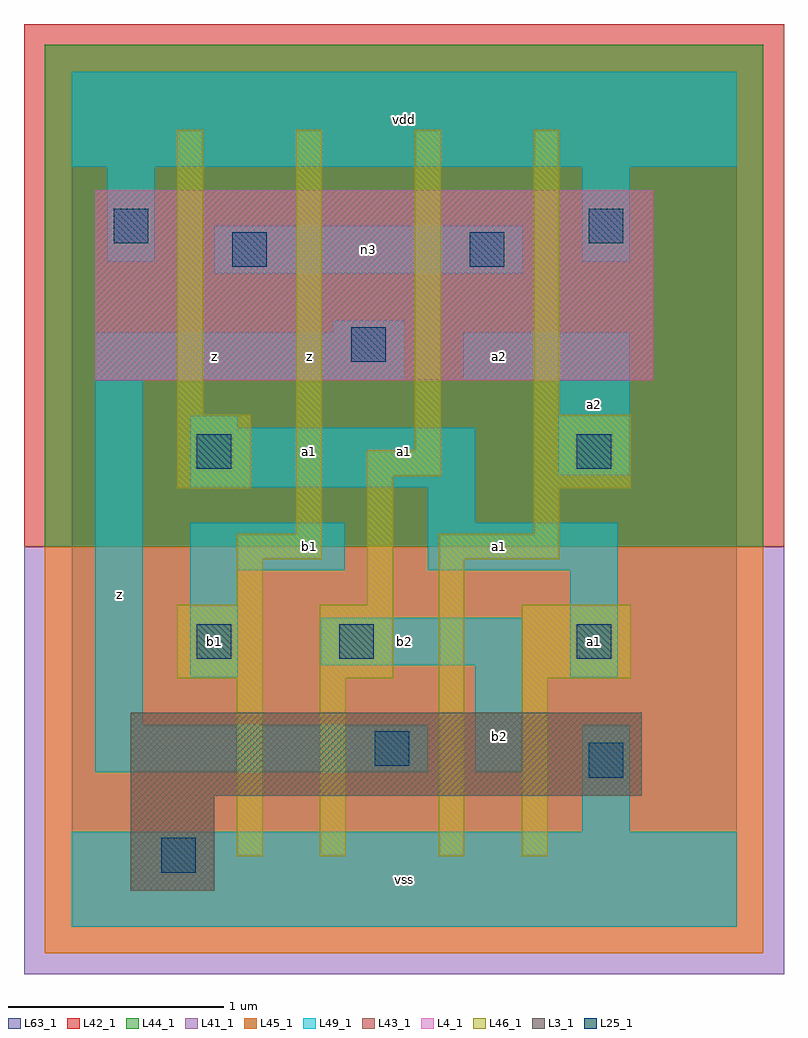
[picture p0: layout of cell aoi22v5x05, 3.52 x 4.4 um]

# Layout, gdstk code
import gdstk
lib = gdstk.Library(unit=1e-6, precision=1e-09)
def R(c, l, rs):  # rectangles x0, y0, x1, y1
    for r in rs: c.add(gdstk.rectangle(r[:2], r[2:], *l))
L3_1 = (3, 1)
L4_1 = (4, 1)
L25_1 = (25, 1)
L41_1 = (41, 1)
L42_1 = (42, 1)
L43_1 = (43, 1)
L44_1 = (44, 1)
L45_1 = (45, 1)
L46_1 = (46, 1)
L49_1 = (49, 1)
L63_1 = (63, 1)

aoi22v5x05 = lib.new_cell('aoi22v5x05')
R(aoi22v5x05, L3_1, [(0.275,0.165,0.66,0.605), (0.275,0.605,2.64,0.99)])
R(aoi22v5x05, L4_1, [(0.11,2.53,2.695,3.41)])
R(aoi22v5x05, L25_1, [(0.415,0.25,0.575,0.41), (2.395,0.69,2.555,0.85), (1.405,0.745,1.565,0.905), (0.58,1.24,0.74,1.4), (1.24,1.24,1.4,1.4), (2.34,1.24,2.5,1.4), (0.58,2.12,0.74,2.28), (2.34,2.12,2.5,2.28), (1.295,2.615,1.455,2.775), (0.745,3.055,0.905,3.215), (1.845,3.055,2.005,3.215), (0.195,3.165,0.355,3.325), (2.395,3.165,2.555,3.325)])
R(aoi22v5x05, L41_1, [(-0.22,-0.22,3.3,1.76)])
R(aoi22v5x05, L42_1, [(-0.22,1.76,3.3,4.18)])
R(aoi22v5x05, L43_1, [(0.275,0.165,0.66,0.605), (0.275,0.605,2.64,0.99), (0.11,2.53,2.695,3.41)])
R(aoi22v5x05, L44_1, [(-0.125,1.76,3.205,4.085)])
R(aoi22v5x05, L45_1, [(-0.125,-0.125,3.205,1.76)])
R(aoi22v5x05, L46_1, [(0.765,0.325,0.885,1.15), (1.15,0.325,1.27,1.15), (1.7,0.325,1.82,1.7), (2.085,0.325,2.205,1.15), (0.49,1.15,0.885,1.49), (1.15,1.15,1.49,1.49), (2.085,1.15,2.59,1.49), (0.765,1.49,0.885,1.7), (1.37,1.49,1.49,2.085), (0.765,1.7,1.16,1.82), (1.7,1.7,2.26,1.82), (1.04,1.82,1.16,3.69), (2.14,1.82,2.26,2.03), (0.49,2.03,0.83,2.37), (2.14,2.03,2.59,2.37), (1.37,2.085,1.71,2.205), (1.59,2.205,1.71,3.69), (0.49,2.37,0.61,3.69), (2.14,2.37,2.26,3.69)])
R(aoi22v5x05, L49_1, [(0,0,3.08,0.44), (2.365,0.44,2.585,0.935), (0.11,0.715,1.65,0.935), (1.87,0.715,2.09,1.21), (0.11,0.935,0.33,2.53), (0.55,1.155,0.77,1.65), (2.31,1.155,2.53,1.65), (1.155,1.21,2.09,1.43), (0.55,1.65,1.265,1.87), (1.65,1.65,2.53,1.87), (1.65,1.87,1.87,2.035), (0.55,2.035,1.87,2.31), (2.255,2.09,2.585,2.53), (0.55,2.31,0.77,2.365), (0.11,2.53,1.54,2.75), (1.815,2.53,2.585,2.75), (1.21,2.75,1.54,2.805), (0.66,3.025,2.09,3.245), (0.165,3.08,0.385,3.52), (2.365,3.08,2.585,3.52), (0,3.52,3.08,3.96)])
R(aoi22v5x05, L63_1, [(0,0,3.08,3.96)])
aoi22v5x05.add(gdstk.Label('z', (0.22,1.54), layer=49, texttype=1))
aoi22v5x05.add(gdstk.Label('b1', (0.66,1.32), layer=49, texttype=1))
aoi22v5x05.add(gdstk.Label('b1', (1.1,1.76), layer=49, texttype=1))
aoi22v5x05.add(gdstk.Label('a1', (1.1,2.2), layer=49, texttype=1))
aoi22v5x05.add(gdstk.Label('z', (0.66,2.64), layer=49, texttype=1))
aoi22v5x05.add(gdstk.Label('z', (1.1,2.64), layer=49, texttype=1))
aoi22v5x05.add(gdstk.Label('vss', (1.54,0.22), layer=49, texttype=1))
aoi22v5x05.add(gdstk.Label('b2', (1.98,0.88), layer=49, texttype=1))
aoi22v5x05.add(gdstk.Label('b2', (1.54,1.32), layer=49, texttype=1))
aoi22v5x05.add(gdstk.Label('a1', (1.98,1.76), layer=49, texttype=1))
aoi22v5x05.add(gdstk.Label('a1', (1.54,2.2), layer=49, texttype=1))
aoi22v5x05.add(gdstk.Label('a2', (1.98,2.64), layer=49, texttype=1))
aoi22v5x05.add(gdstk.Label('n3', (1.375,3.135), layer=49, texttype=1))
aoi22v5x05.add(gdstk.Label('vdd', (1.54,3.74), layer=49, texttype=1))
aoi22v5x05.add(gdstk.Label('a1', (2.42,1.32), layer=49, texttype=1))
aoi22v5x05.add(gdstk.Label('a2', (2.42,2.42), layer=49, texttype=1))

lib.write_gds('aoi22v5x05.gds')
